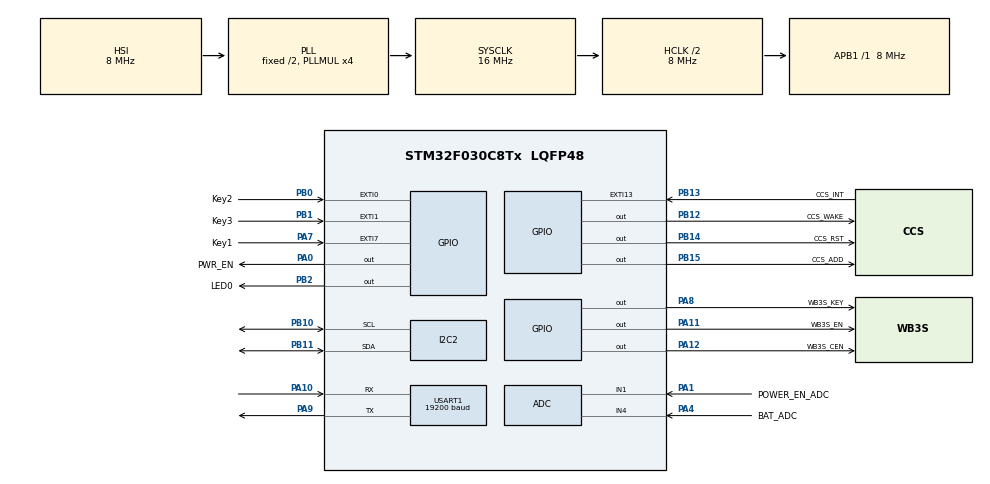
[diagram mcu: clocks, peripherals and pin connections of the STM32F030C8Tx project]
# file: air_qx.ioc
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Mcu.Family=STM32F0
PB10.Mode=I2C
USART1.BaudRate=19200
PB14.GPIO_Label=CCS_RST
PA0.PinState=GPIO_PIN_SET
PA0.GPIO_Label=PWR_EN
VP_RTC_VS_RTC_Activate.Mode=RTC_Enabled
PB0.GPIO_Label=Key2
PB13.GPIO_Label=CCS_INT
PB11.Signal=I2C2_SDA
PB13.Signal=GPXTI13
PB15.Signal=GPIO_Output
RCC.SYSCLKSource=RCC_SYSCLKSOURCE_PLLCLK
ProjectManager.StackSize=0x400
ADC.DiscontinuousConvMode=ENABLE
PA12.Signal=GPIO_Output
PA4.Mode=IN4
PB1.GPIO_PuPd=GPIO_PULLUP
RCC.HCLKFreq_Value=8000000
PB1.GPIO_ModeDefaultEXTI=GPIO_MODE_IT_RISING_FALLING
PB12.PinState=GPIO_PIN_SET
RCC.AHBFreq_Value=8000000
PA12.PinState=GPIO_PIN_SET
PB2.Signal=GPIO_Output
RCC.RTCClockSelection=RCC_RTCCLKSOURCE_LSE
RCC.PLLMUL=RCC_PLL_MUL4
PB12.GPIO_Label=CCS_WAKE
PB0.GPIO_ModeDefaultEXTI=GPIO_MODE_IT_RISING_FALLING
PC14-OSC32_IN.Mode=LSE-External-Oscillator
PA14.Mode=Serial_Wire
VP_SYS_VS_tim1.Mode=TIM1
PB1.GPIO_Label=Key3
PA8.Signal=GPIO_Output
PB2.GPIO_PuPd=GPIO_PULLUP
PA0.Signal=GPIO_Output
Mcu.Package=LQFP48
PB1.Signal=GPXTI1
NVIC.TimeBase=TIM1_BRK_UP_TRG_COM_IRQn
NVIC.TimeBaseIP=TIM1
PA10.Signal=USART1_RX
VP_RTC_VS_RTC_Calendar.Mode=RTC_Calendar
RCC.APB1TimFreq_Value=8000000
NVIC.USART1_IRQn=true\:2\:0\:true\:false\:true\:true\:true
PA4.GPIO_Label=BAT_ADC
NVIC.EXTI4_15_IRQn=true\:1\:0\:true\:false\:true\:true\:true
PA8.PinState=GPIO_PIN_SET
PC15-OSC32_OUT.Mode=LSE-External-Oscillator
PA10.Mode=Asynchronous
PA7.GPIO_ModeDefaultEXTI=GPIO_MODE_IT_RISING_FALLING
PA11.GPIO_Label=WB3S_EN
PC14-OSC32_IN.Signal=RCC_OSC32_IN
PB13.GPIO_ModeDefaultEXTI=GPIO_MODE_IT_FALLING
PA12.GPIO_Label=WB3S_CEN
I2C2.OwnAddress=0x0A
USART1.VirtualMode-Asynchronous=VM_ASYNC
PA13.Signal=SYS_SWDIO
PA9.Mode=Asynchronous
PA8.GPIO_Label=WB3S_KEY
PB14.PinState=GPIO_PIN_SET
PB11.Mode=I2C
ProjectManager.TargetToolchain=STM32CubeIDE
PA9.Signal=USART1_TX
PC15-OSC32_OUT.Signal=RCC_OSC32_OUT
PA1.Signal=ADC_IN1
PA7.GPIO_PuPd=GPIO_PULLUP
PB10.Signal=I2C2_SCL
PB14.Signal=GPIO_Output
board=custom
PA1.Mode=IN1
PB15.GPIO_Label=CCS_ADD
PA1.GPIO_Label=POWER_EN_ADC
RCC.AHBCLKDivider=RCC_SYSCLK_DIV2
PA13.Mode=Serial_Wire
Mcu.Name=STM32F030C8Tx
PB2.PinState=GPIO_PIN_RESET
PA4.Signal=ADC_IN4
RCC.SYSCLKFreq_VALUE=16000000
PA7.GPIO_Label=Key1
PA11.Signal=GPIO_Output
PA14.Signal=SYS_SWCLK
PB2.GPIO_Label=LED0
ProjectManager.HeapSize=0x200
RCC.APB1Freq_Value=8000000
PB0.Signal=GPXTI0
NVIC.TIM1_BRK_UP_TRG_COM_IRQn=true\:0\:0\:true\:false\:true\:false\:true
PB12.Signal=GPIO_Output
PB0.GPIO_PuPd=GPIO_PULLUP
PA7.Signal=GPXTI7
NVIC.EXTI0_1_IRQn=true\:1\:0\:true\:false\:true\:true\:true

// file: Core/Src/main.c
/* USER CODE BEGIN Header */
/**
  ******************************************************************************
  * @file           : main.c
  * @brief          : Main program body
  ******************************************************************************
  * @attention
  *
  * <h2><center>&copy; Copyright (c) 2021 STMicroelectronics.
  * All rights reserved.</center></h2>
  *
  * This software component is licensed by ST under BSD 3-Clause license,
  * the "License"; You may not use this file except in compliance with the
  * License. You may obtain a copy of the License at:
  *                        opensource.org/licenses/BSD-3-Clause
  *
  ******************************************************************************
  */
/* USER CODE END Header */
#include "main.h"
#include "adc.h"
#include "i2c.h"
#include "rtc.h"
#include "usart.h"
#include "gpio.h"

/* USER CODE BEGIN Includes */
#include "oled.h"
#include "stdio.h"
#include "CCS811_Basic.h"
#include "hdc1080.h"
/* USER CODE END Includes */

void SystemClock_Config(void);

int main(void)
{

  /* MCU Configuration--------------------------------------------------------*/

  /* Reset of all peripherals, Initializes the Flash interface and the Systick. */
  HAL_Init();

  /* Configure the system clock */
  SystemClock_Config();

  /* Initialize all configured peripherals */
  MX_GPIO_Init();
  MX_RTC_Init();
  MX_ADC_Init();
  MX_USART1_UART_Init();
  MX_I2C2_Init();
  /* USER CODE BEGIN 2 */
	OLED_Init();
	OLED_Clear();

	OLED_ShowString(10, 0, "TVOC Sensor V2", 16);
	OLED_ShowString(40, 4, "Gaficat", 16);
	hdc1080_init();

	if(configureCCS811()){
////		  OLED_ShowString(0, 0, "ccs811 init success!", 16);
//		OLED_ShowNum(0, 4, 400, 3,16);
	}

	OLED_Clear();
//	OLED_ShowCHinese(0,2,1);
//	OLED_ShowCHinese(0,4,2);
//	OLED_ShowCHinese(0,6,3);
	OLED_ShowString(0, 0, "TVOC:", 16);
	OLED_ShowString(0, 2, "eCO2:", 16);
	OLED_ShowString(0, 4, "Temp:", 16);
	OLED_ShowString(0, 6, "humidity:", 16);

//  unsigned char data[] = "HAL UART CPU Transmit success!\t\n";
//  HAL_UART_Transmit(&huart1, data, sizeof(data), 0xffff);
//  unsigned char data1[] = "HAL UART DMA Transmit success!\t\n";
//  HAL_UART_Transmit_DMA(&huart1, data1, sizeof(data1));
//  printf("hello print! %f \n", 3.14);
//  printf("ccs init status:%d\n", configureCCS811());

//  OLED_Clear();
//  OLED_ShowChar(0, 0, 'A', 16);
//  OLED_ShowChar(0, 2, 'B', 16);
//  OLED_ShowChar(0, 4, 'C', 16);
//  OLED_ShowChar(0, 6, 'D', 16);
//
//  OLED_ShowChar(15, 0, 'A', 12);
//  OLED_ShowChar(15, 1, 'B', 12);
//  OLED_ShowChar(15, 2, 'C', 12);
//  OLED_ShowChar(15, 3, 'D', 12);
//  OLED_ShowChar(15, 4, 'E', 12);
//  OLED_ShowChar(15, 5, 'F', 12);
//  OLED_ShowChar(15, 6, 'G', 12);
//  OLED_ShowChar(15, 7, 'H', 12);
//
//  OLED_ShowString(30, 0, "mculover666", 12);
//
//  OLED_ShowCHinese(35, 2, 0);
//  OLED_ShowCHinese(65, 2, 1);
//  OLED_ShowCHinese(95, 2, 2);
//
//  OLED_ShowString(36, 6, "IoT Board", 16);

//  HAL_GPIO_WritePin(GPIOA, GPIO_PIN_0, GPIO_PIN_SET);
//  HAL_GPIO_WritePin(GPIOB, GPIO_PIN_2, GPIO_PIN_SET);
  /* USER CODE END 2 */

  /* Infinite loop */
  /* USER CODE BEGIN WHILE */

  while (1)
  {
//	  HAL_GPIO_TogglePin(GPIOB, GPIO_PIN_2);

	  HAL_Delay(1000);
    /* USER CODE END WHILE */

  }
}

void SystemClock_Config(void)
{
  RCC_OscInitTypeDef RCC_OscInitStruct = {0};
  RCC_ClkInitTypeDef RCC_ClkInitStruct = {0};
  RCC_PeriphCLKInitTypeDef PeriphClkInit = {0};

  /** Configure LSE Drive Capability
  */
  HAL_PWR_EnableBkUpAccess();
  __HAL_RCC_LSEDRIVE_CONFIG(RCC_LSEDRIVE_HIGH);
  /** Initializes the RCC Oscillators according to the specified parameters
  * in the RCC_OscInitTypeDef structure.
  */
  RCC_OscInitStruct.OscillatorType = RCC_OSCILLATORTYPE_HSI|RCC_OSCILLATORTYPE_HSI14
                              |RCC_OSCILLATORTYPE_LSE;
  RCC_OscInitStruct.LSEState = RCC_LSE_ON;
  RCC_OscInitStruct.HSIState = RCC_HSI_ON;
  RCC_OscInitStruct.HSI14State = RCC_HSI14_ON;
  RCC_OscInitStruct.HSICalibrationValue = RCC_HSICALIBRATION_DEFAULT;
  RCC_OscInitStruct.HSI14CalibrationValue = 16;
  RCC_OscInitStruct.PLL.PLLState = RCC_PLL_ON;
  RCC_OscInitStruct.PLL.PLLSource = RCC_PLLSOURCE_HSI;
  RCC_OscInitStruct.PLL.PLLMUL = RCC_PLL_MUL4;
  RCC_OscInitStruct.PLL.PREDIV = RCC_PREDIV_DIV1;
  if (HAL_RCC_OscConfig(&RCC_OscInitStruct) != HAL_OK)
  {
    Error_Handler();
  }
  /** Initializes the CPU, AHB and APB buses clocks
  */
  RCC_ClkInitStruct.ClockType = RCC_CLOCKTYPE_HCLK|RCC_CLOCKTYPE_SYSCLK
                              |RCC_CLOCKTYPE_PCLK1;
  RCC_ClkInitStruct.SYSCLKSource = RCC_SYSCLKSOURCE_PLLCLK;
  RCC_ClkInitStruct.AHBCLKDivider = RCC_SYSCLK_DIV2;
  RCC_ClkInitStruct.APB1CLKDivider = RCC_HCLK_DIV1;

  if (HAL_RCC_ClockConfig(&RCC_ClkInitStruct, FLASH_LATENCY_0) != HAL_OK)
  {
    Error_Handler();
  }
  PeriphClkInit.PeriphClockSelection = RCC_PERIPHCLK_USART1|RCC_PERIPHCLK_RTC;
  PeriphClkInit.Usart1ClockSelection = RCC_USART1CLKSOURCE_PCLK1;
  PeriphClkInit.RTCClockSelection = RCC_RTCCLKSOURCE_LSE;
  if (HAL_RCCEx_PeriphCLKConfig(&PeriphClkInit) != HAL_OK)
  {
    Error_Handler();
  }
}

 /**
  * @brief  Period elapsed callback in non blocking mode
  * @note   This function is called  when TIM1 interrupt took place, inside
  * HAL_TIM_IRQHandler(). It makes a direct call to HAL_IncTick() to increment
  * a global variable "uwTick" used as application time base.
  * @param  htim : TIM handle
  * @retval None
  */
void HAL_TIM_PeriodElapsedCallback(TIM_HandleTypeDef *htim)
{
  if (htim->Instance == TIM1) {
    HAL_IncTick();
  }
}

void Error_Handler(void)
{
  __disable_irq();
  while (1)
  {
  }
}

/************************ (C) COPYRIGHT STMicroelectronics *****END OF FILE****/
